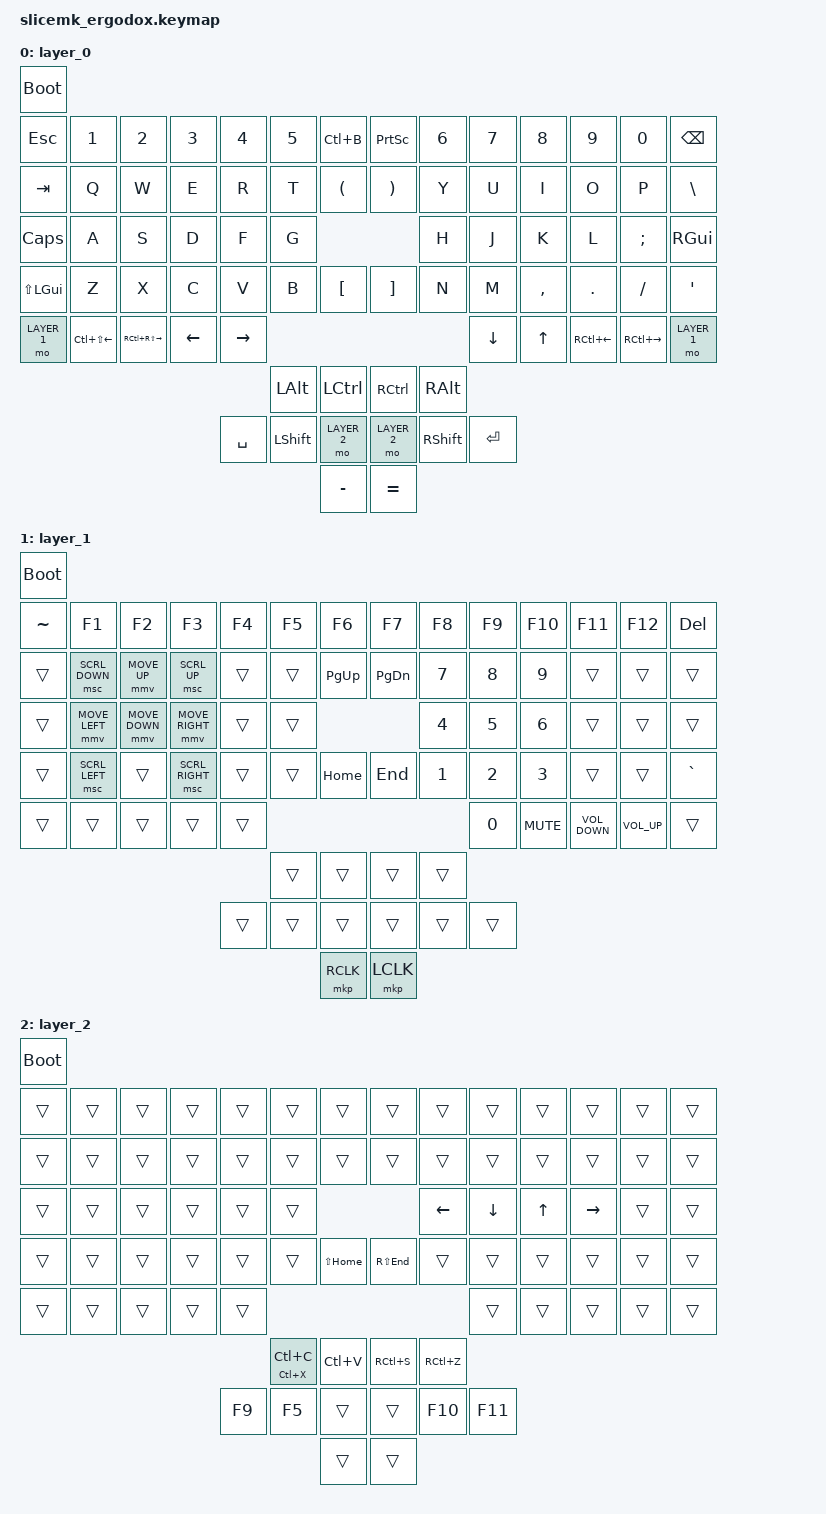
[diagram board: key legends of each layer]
#define ZMK_MOUSE_DEFAULT_MOVE_VAL 900
#define LAYER_0 0
#define LAYER_1 1
#define LAYER_2 2

#include <behaviors.dtsi>
#include <dt-bindings/zmk/bt.h>
#include <dt-bindings/zmk/keys.h>
#include <dt-bindings/zmk/mouse.h>
#include <dt-bindings/zmk/outputs.h>
#include <dt-bindings/zmk/rgb.h>

/ {
	keymap {
		compatible = "zmk,keymap";
		layer_0 {
			bindings = <
				&bootloader
				&kp ESCAPE       &kp NUMBER_1           &kp NUMBER_2            &kp NUMBER_3   &kp NUMBER_4    &kp NUMBER_5   &kp LC(B)            &kp PRINTSCREEN       &kp NUMBER_6    &kp NUMBER_7   &kp NUMBER_8 &kp NUMBER_9       &kp NUMBER_0        &kp BACKSPACE
				&kp TAB          &kp Q                  &kp W                   &kp E          &kp R           &kp T          &kp LEFT_PARENTHESIS &kp RIGHT_PARENTHESIS &kp Y           &kp U          &kp I        &kp O              &kp P               &kp BACKSLASH
				&kp CAPSLOCK     &kp A                  &kp S                   &kp D          &kp F           &kp G                                                     &kp H           &kp J          &kp K        &kp L              &kp SEMICOLON       &kp RIGHT_GUI
				&kp LS(LEFT_GUI) &kp Z                  &kp X                   &kp C          &kp V           &kp B          &kp LEFT_BRACKET     &kp RIGHT_BRACKET     &kp N           &kp M          &kp COMMA    &kp PERIOD         &kp SLASH           &kp SINGLE_QUOTE
				&mo LAYER_1      &kp LC(LS(LEFT_ARROW)) &kp RC(RS(RIGHT_ARROW)) &kp LEFT_ARROW &kp RIGHT_ARROW                                                                           &kp DOWN_ARROW &kp UP_ARROW &kp RC(LEFT_ARROW) &kp RC(RIGHT_ARROW) &mo LAYER_1
				                                                                                               &kp LEFT_ALT   &kp LEFT_CONTROL     &kp RIGHT_CONTROL     &kp RIGHT_ALT
				                                                                               &kp SPACE       &kp LEFT_SHIFT &mo LAYER_2          &mo LAYER_2           &kp RIGHT_SHIFT &kp RETURN
				                                                                                                              &kp MINUS            &kp EQUAL
			>;
		};
		layer_1 {
			bindings = <
				&bootloader
				&kp TILDE &kp F1         &kp F2         &kp F3          &kp F4 &kp F5 &kp F6      &kp F7        &kp F8       &kp F9       &kp F10      &kp F11           &kp F12         &kp DELETE
				&trans    &msc SCRL_DOWN &mmv MOVE_UP   &msc SCRL_UP    &trans &trans &kp PAGE_UP &kp PAGE_DOWN &kp NUMBER_7 &kp NUMBER_8 &kp NUMBER_9 &trans            &trans          &trans
				&trans    &mmv MOVE_LEFT &mmv MOVE_DOWN &mmv MOVE_RIGHT &trans &trans                           &kp NUMBER_4 &kp NUMBER_5 &kp NUMBER_6 &trans            &trans          &trans
				&trans    &msc SCRL_LEFT &trans         &msc SCRL_RIGHT &trans &trans &kp HOME    &kp END       &kp NUMBER_1 &kp NUMBER_2 &kp NUMBER_3 &trans            &trans          &kp GRAVE
				&trans    &trans         &trans         &trans          &trans                                               &kp NUMBER_0 &kp C_MUTE   &kp C_VOLUME_DOWN &kp C_VOLUME_UP &trans
				                                                               &trans &trans      &trans        &trans
				                                                        &trans &trans &trans      &trans        &trans       &trans
				                                                                      &mkp RCLK   &mkp LCLK
			>;
		};
		layer_2 {
			bindings = <
				&bootloader
				&trans &trans &trans &trans &trans &trans          &trans       &trans      &trans         &trans         &trans       &trans          &trans &trans
				&trans &trans &trans &trans &trans &trans          &trans       &trans      &trans         &trans         &trans       &trans          &trans &trans
				&trans &trans &trans &trans &trans &trans                                   &kp LEFT_ARROW &kp DOWN_ARROW &kp UP_ARROW &kp RIGHT_ARROW &trans &trans
				&trans &trans &trans &trans &trans &trans          &kp LS(HOME) &kp RS(END) &trans         &trans         &trans       &trans          &trans &trans
				&trans &trans &trans &trans &trans                                                         &trans         &trans       &trans          &trans &trans
				                                   &mt LC(X) LC(C) &kp LC(V)    &kp RC(S)   &kp RC(Z)
				                            &kp F9 &kp F5          &trans       &trans      &kp F10        &kp F11
				                                                   &trans       &trans
			>;
		};
	};
};
